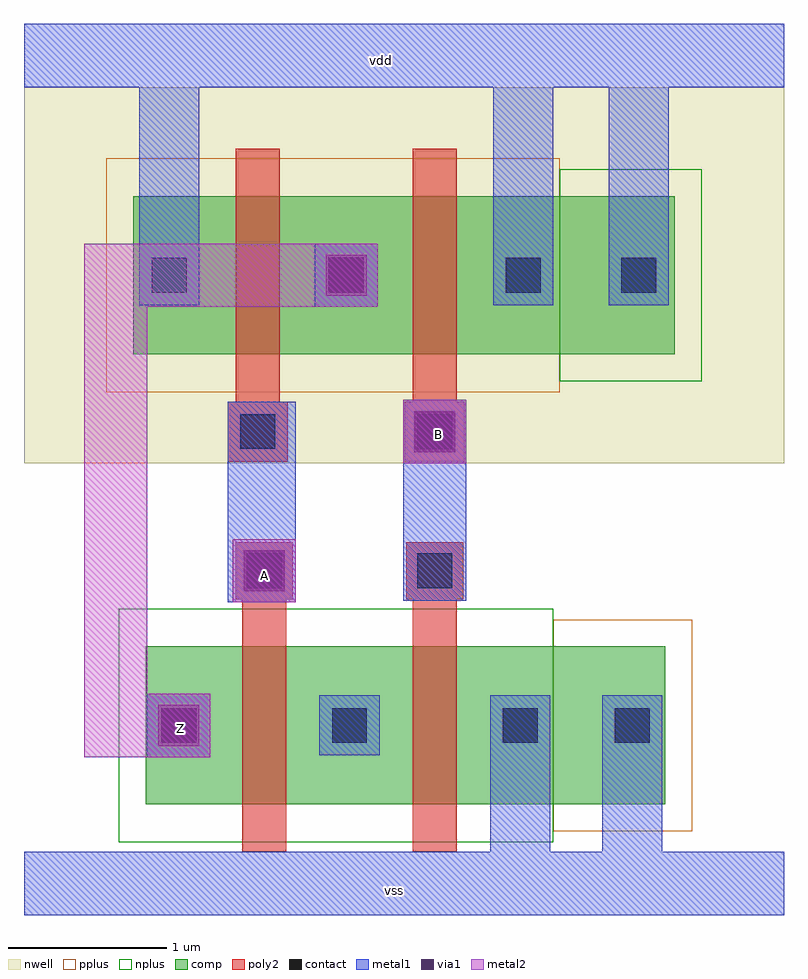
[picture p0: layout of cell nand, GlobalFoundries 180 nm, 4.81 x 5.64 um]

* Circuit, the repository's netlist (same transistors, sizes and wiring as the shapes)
** sch_path: /foss/designs/Mosbious_2025_Spikcore/designs/libs/core_LIF_comp/core_nand/nand.sch
.subckt nand vdd vss Z A B
*.PININFO vdd:B vss:B A:I Z:O B:I
XM1 Z A vdd vdd pfet_03v3 L=0.28u W=1u nf=1 m=1
XM3 net1 B vss vss nfet_03v3 L=0.28u W=1u nf=1 m=1
XM2 Z A net1 vss nfet_03v3 L=0.28u W=1u nf=1 m=1
XM4 Z B vdd vdd pfet_03v3 L=0.28u W=1u nf=1 m=1
.ends

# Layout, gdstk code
import gdstk
lib = gdstk.Library(unit=1e-6, precision=5e-09)
def R(c, l, rs):  # rectangles x0, y0, x1, y1
    for r in rs: c.add(gdstk.rectangle(r[:2], r[2:], *l))
nwell = (21, 0)
comp = (22, 0)
poly2 = (30, 0)
pplus = (31, 0)
nplus = (32, 0)
contact = (33, 0)
metal1 = (34, 0)
via1 = (35, 0)
metal2 = (36, 0)

pfet_2 = lib.new_cell('pfet$2')

pfet = lib.new_cell('pfet')
R(pfet, nwell, [(-0.9,-0.44,1.56,1.44)])
R(pfet, comp, [(-0.46,0,0,1), (0,0,0.66,1), (0.66,0,1.12,1)])
R(pfet, poly2, [(0.14,-0.68,0.52,-0.3), (0.19,-0.3,0.47,1.3)])
R(pfet, pplus, [(-0.63,-0.24,1.29,1.24)])
R(pfet, contact, [(0.22,-0.6,0.44,-0.38), (-0.34,0.39,-0.12,0.61), (0.78,0.39,1,0.61)])
R(pfet, metal1, [(0.14,-0.68,0.52,-0.3), (-0.42,0.31,-0.04,0.69), (0.7,0.31,1.08,0.69)])

via_dev = lib.new_cell('via_dev')

pfet_1 = lib.new_cell('pfet$1')
R(pfet_1, nwell, [(-1.15,-0.69,2.54,1.69)])
R(pfet_1, comp, [(-0.46,0,0,1), (0,0,0.66,1), (0.66,0,1.12,1), (1.12,0,1.85,1)])
R(pfet_1, poly2, [(0.14,-0.68,0.52,-0.3), (0.19,-0.3,0.47,1.3)])
R(pfet_1, pplus, [(-0.63,-0.24,1.12,1.24)])
R(pfet_1, nplus, [(1.12,-0.17,2.02,1.17)])
R(pfet_1, contact, [(0.22,-0.6,0.44,-0.38), (-0.34,0.39,-0.12,0.61), (0.78,0.39,1,0.61), (1.51,0.39,1.73,0.61)])
R(pfet_1, metal1, [(0.14,-0.68,0.52,-0.3), (-0.42,0.31,-0.04,0.69), (0.7,0.31,1.08,0.69), (1.43,0.31,1.81,0.69)])

via_dev_2 = lib.new_cell('via_dev$2')
R(via_dev_2, metal1, [(0,0,0.4,0.4)])
R(via_dev_2, via1, [(0.07,0.07,0.33,0.33)])
R(via_dev_2, metal2, [(0,0,0.4,0.4)])

nfet_2 = lib.new_cell('nfet$2')
R(nfet_2, comp, [(-0.42,0,0,1), (0,0,0.66,1), (0.66,0,1.08,1), (1.08,0,1.79,1)])
R(nfet_2, poly2, [(0.19,-0.3,0.47,1.3), (0.15,1.3,0.51,1.66)])
R(nfet_2, pplus, [(1.08,-0.17,1.96,1.17)])
R(nfet_2, nplus, [(-0.59,-0.24,1.08,1.24)])
R(nfet_2, contact, [(-0.32,0.39,-0.1,0.61), (0.76,0.39,0.98,0.61), (1.47,0.39,1.69,0.61), (0.22,1.37,0.44,1.59)])
R(nfet_2, metal1, [(-0.4,0.31,-0.02,0.69), (0.68,0.31,1.06,0.69), (1.39,0.31,1.77,0.69), (0.14,1.29,0.52,1.67)])

nfet_3 = lib.new_cell('nfet$3')
R(nfet_3, comp, [(-0.42,0,0,1), (0,0,0.66,1), (0.66,0,1.08,1)])
R(nfet_3, poly2, [(0.19,-0.3,0.47,1.3), (0.15,1.3,0.51,1.66)])
R(nfet_3, nplus, [(-0.59,-0.24,1.25,1.24)])
R(nfet_3, contact, [(-0.32,0.39,-0.1,0.61), (0.76,0.39,0.98,0.61), (0.22,1.37,0.44,1.59)])
R(nfet_3, metal1, [(-0.4,0.31,-0.02,0.69), (0.68,0.31,1.06,0.69), (0.14,1.29,0.52,1.67)])

nand = lib.new_cell('nand')
R(nand, nwell, [(-1.325,-1.48,-0.205,0.9)])
R(nand, metal1, [(-1.325,-4.34,3.485,-3.94), (1.625,-3.94,2.005,-2.95), (2.335,-3.94,2.715,-2.95), (-0.035,-2.36,0.395,-1.09), (1.075,-2.35,1.475,-1.08), (-0.595,-0.475,-0.215,0.9), (1.645,-0.475,2.025,0.9), (2.375,-0.475,2.755,0.9), (-1.325,0.9,3.485,1.3)])
nand.add(gdstk.FlexPath([(-0.745,-3.34),(-0.745,-0.29),(0.535,-0.29)], 0.4, ends="flush", simple_path=True, layer=36, datatype=0))  # metal2
nand.add(gdstk.Reference(pfet_2, (5.155,-2.67)))
nand.add(gdstk.Reference(pfet, (-0.175,-0.79)))
nand.add(gdstk.Reference(via_dev, (-0.94,-1.74)))
nand.add(gdstk.Reference(pfet_1, (0.945,-0.79)))
nand.add(gdstk.Reference(via_dev_2, (0.515,-0.49)))
nand.add(gdstk.Reference(via_dev_2, (-0.545,-3.34)))
nand.add(gdstk.Reference(nfet_2, (0.945,-3.64)))
nand.add(gdstk.Reference(via_dev_2, (-0.005,-2.36)))
nand.add(gdstk.Reference(nfet_3, (-0.135,-3.64)))
nand.add(gdstk.Reference(via_dev_2, (1.075,-1.48)))
nand.add(gdstk.Label('vss', (1.02,-4.185), layer=34, texttype=10))
nand.add(gdstk.Label('vdd', (0.94,1.07), layer=34, texttype=10))
nand.add(gdstk.Label('Z', (-0.335,-3.16), layer=36, texttype=10))
nand.add(gdstk.Label('A', (0.2,-2.19), layer=36, texttype=10))
nand.add(gdstk.Label('B', (1.3,-1.3), layer=36, texttype=10))

lib.write_gds('nand.gds')
